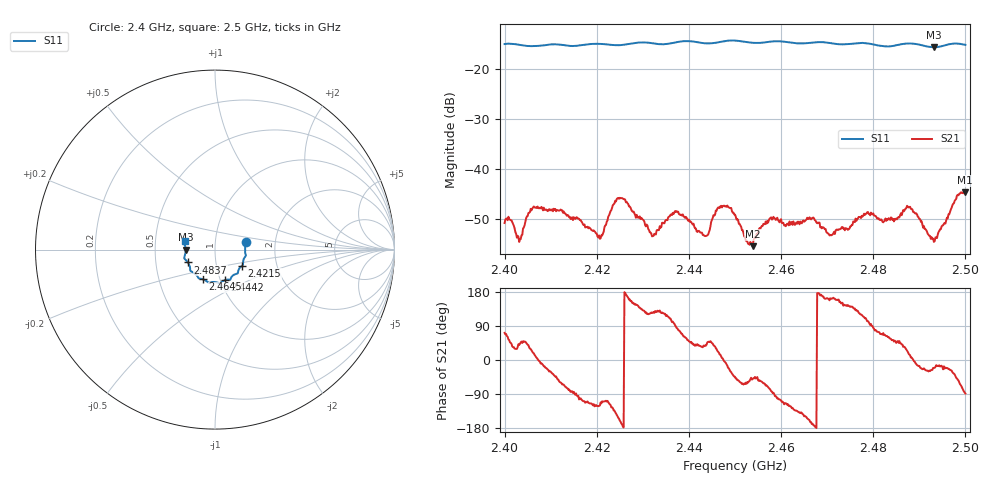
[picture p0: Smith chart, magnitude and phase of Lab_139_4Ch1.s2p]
# Hz S RI R 50
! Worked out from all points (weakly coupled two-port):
!   601 points, 2.4 GHz to 2.5 GHz, reference 50 ohm
!   highest |S21| = -44.60 dB at 2.4998 GHz (marker M1); lowest = -55.4 dB at 2.4538 GHz (marker M2)
!   lowest |S11| = -15.7 dB at 2.4932 GHz (marker M3), VSWR 1.39, Z = 36 - j0.0574 ohm
!   |S11| at or under -10 dB: start of sweep to end of sweep
!   S12 and S22 are empty: the file has one direction only
!   S11 on the Smith chart (normalised r, x): 2.4 GHz: 1.41, +0.12; 2.4215 GHz: 1.33, -0.25; 2.4442 GHz: 1.05, -0.37; 2.4645 GHz: 0.83, -0.29; 2.4837 GHz: 0.73, -0.11; 2.5 GHz: 0.71, +0.07
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2.4e9  0.1714 0.0401  0.000911 0.00276  0 0  0 0
2.403167e9  0.1712 0.0259  0.00145 0.0012  0 0  0 0
2.406667e9  0.1678 -0.00879  0.00405 0.000781  0 0  0 0
2.416667e9  0.1568 -0.0697  -0.000734 -0.00292  0 0  0 0
2.4215e9  0.1513 -0.0899  -0.000794 -0.00224  0 0  0 0
2.425e9  0.1342 -0.1073  -0.00486 -0.00179  0 0  0 0
2.433333e9  0.1082 -0.1385  -0.00155 0.00192  0 0  0 0
2.437333e9  0.0875 -0.1615  0.000357 0.00379  0 0  0 0
2.444167e9  0.0566 -0.1693  0.00149 0.00165  0 0  0 0
2.4465e9  0.0376 -0.1798  0.00392 0.00138  0 0  0 0
2.45e9  0.0252 -0.189  0.00253 -0.00246  0 0  0 0
2.453833e9  0.00325 -0.1811  0.0011 -0.00131  0 0  0 0
2.458e9  -0.0284 -0.1845  0.000366 -0.00312  0 0  0 0
2.4645e9  -0.0658 -0.1659  -0.0022 -0.00186  0 0  0 0
2.466667e9  -0.0828 -0.1621  -0.00317 -0.000623  0 0  0 0
2.470667e9  -0.0952 -0.1529  -0.00211 0.000652  0 0  0 0
2.483333e9  -0.1489 -0.0751  0.00158 0.00283  0 0  0 0
2.483667e9  -0.1509 -0.0717  0.00171 0.00261  0 0  0 0
2.487833e9  -0.1714 -0.0486  0.00407 0.00102  0 0  0 0
2.493167e9  -0.1634 -0.000777  0.00176 -0.000675  0 0  0 0
2.499833e9  -0.1664 0.0492  0.000453 -0.00587  0 0  0 0
2.5e9  -0.1653 0.0505  0.000164 -0.00585  0 0  0 0
